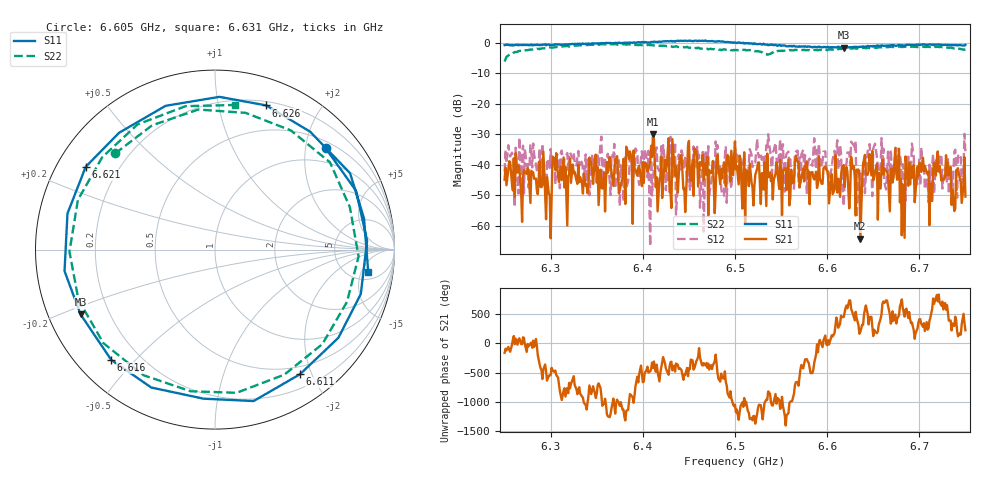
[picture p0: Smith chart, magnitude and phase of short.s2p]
# Hz S RI R 50
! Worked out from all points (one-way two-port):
!   401 points, 6.25 GHz to 6.75 GHz, reference 50 ohm
!   highest |S21| = -29.94 dB at 6.411 GHz (marker M1); lowest = -64.3 dB at 6.636 GHz (marker M2)
!   lowest |S11| = -1.6 dB at 6.618 GHz (marker M3), VSWR 10.86, Z = 4.84 - j11.3 ohm
!   |S11| at or under -10 dB: nowhere
!   |S22| runs from -6.1 to -0.3 dB; largest |S21 - S12| = 0.04
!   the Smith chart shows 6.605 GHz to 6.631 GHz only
!   S11 on the Smith chart (normalised r, x): 6.605 GHz: 0.65, +2.42; 6.611 GHz: 0.39, -1.83; 6.616 GHz: 0.10, -0.43; 6.621 GHz: 0.08, +0.29; 6.626 GHz: 0.24, +1.39; 6.631 GHz: 6.78, -6.79
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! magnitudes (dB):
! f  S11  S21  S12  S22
! 6.25 GHz  -0.7  -44.9  -42.3  -6.1
! 6.334 GHz  -0.4  -46.2  -39.3  -0.8
! 6.411 GHz  0.3  -29.9  -44.0  -0.9
! 6.418 GHz  0.4  -44.6  -42.2  -1.0
! 6.464 GHz  0.7  -40.4  -42.5  -1.9
! 6.479 GHz  0.4  -48.6  -32.4  -2.2
! 6.485 GHz  0.5  -41.4  -47.5  -2.4
! 6.5 GHz  0.1  -32.4  -32.4  -2.4
! 6.584 GHz  -1.5  -42.4  -40.4  -2.3
! 6.605 GHz  -1.6  -43.2  -40.9  -2.2
! 6.611 GHz  -1.5  -49.1  -32.0  -1.9
! 6.616 GHz  -1.5  -41.1  -44.3  -2.0
! 6.618 GHz  -1.6  -40.2  -53.6  -2.0
! 6.621 GHz  -1.4  -40.8  -39.7  -1.9
! 6.626 GHz  -1.4  -37.4  -32.4  -1.8
! 6.631 GHz  -1.3  -56.7  -32.3  -1.8
! 6.636 GHz  -1.3  -64.3  -42.7  -1.7
! 6.668 GHz  -0.9  -55.3  -44.0  -1.2
! 6.675 GHz  -1.0  -42.8  -34.6  -1.3
! 6.681 GHz  -0.7  -63.2  -51.4  -1.3
! 6.702 GHz  -0.6  -42.4  -34.3  -1.3
! 6.75 GHz  -0.7  -50.5  -35.6  -2.1
